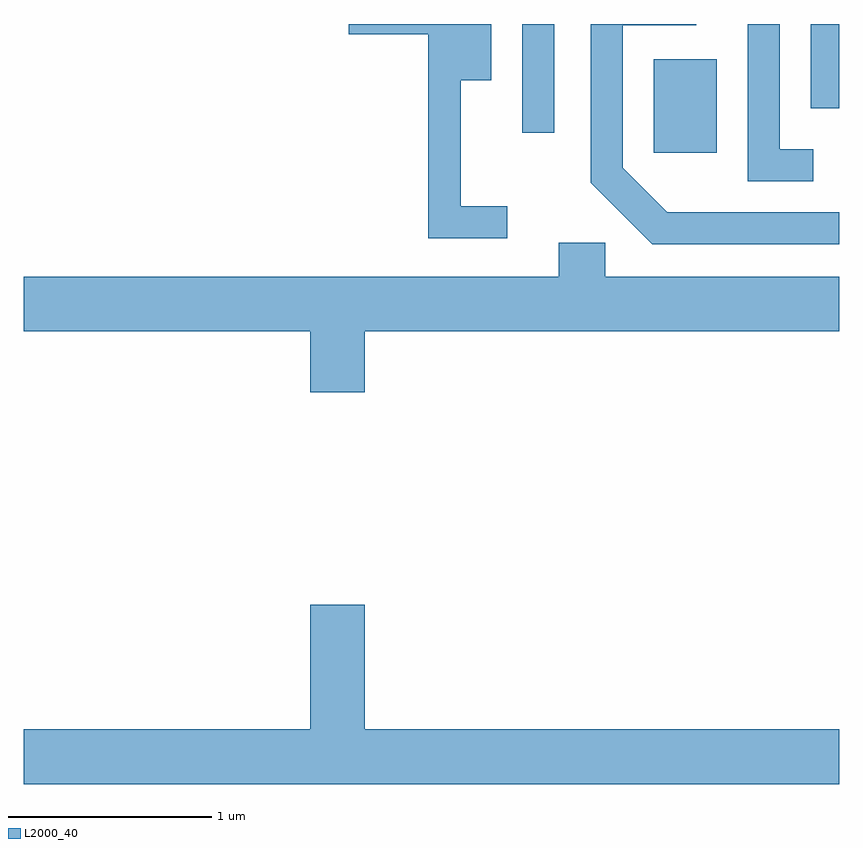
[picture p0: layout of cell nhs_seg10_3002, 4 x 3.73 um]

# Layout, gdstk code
import gdstk
lib = gdstk.Library(unit=1e-6, precision=1e-09)
def R(c, l, rs):  # rectangles x0, y0, x1, y1
    for r in rs: c.add(gdstk.rectangle(r[:2], r[2:], *l))
def P(c, l, *ps):  # polygons
    for p in ps: c.add(gdstk.Polygon(p, *l))
L2000_40 = (2000, 40)

nhs_seg10_3002 = lib.new_cell('nhs_seg10_3002')
R(nhs_seg10_3002, L2000_40, [(276.701,2125.891,277.009,2126.349), (276.056,2125.988,276.214,2126.522), (277.471,2126.108,277.611,2126.522)])
P(nhs_seg10_3002, L2000_40, [(275.983,2125.629),(275.754,2125.629),(275.754,2126.246),(275.904,2126.246),(275.904,2126.522),(275.206,2126.522),(275.206,2126.471),(275.596,2126.471),(275.596,2125.471),(275.983,2125.471)],
  [(277.611,2125.599),(276.767,2125.599),(276.549,2125.817),(276.549,2126.516),(276.908,2126.516),(276.908,2126.522),(276.391,2126.522),(276.391,2125.744),(276.694,2125.441),(277.611,2125.441)],
  [(277.483,2125.909),(277.319,2125.909),(277.319,2126.522),(277.161,2126.522),(277.161,2125.751),(277.483,2125.751)],
  [(275.284,2125.016),(277.611,2125.016),(277.611,2125.284),(276.464,2125.284),(276.464,2125.449),(276.236,2125.449),(276.236,2125.284),(273.611,2125.284),(273.611,2125.016),(275.016,2125.016),(275.016,2124.716),(275.284,2124.716)],
  [(277.611,2123.064),(275.284,2123.064),(275.284,2123.674),(275.016,2123.674),(275.016,2123.064),(273.611,2123.064),(273.611,2122.796),(277.611,2122.796)])

lib.write_gds('nhs_seg10_3002.gds')
